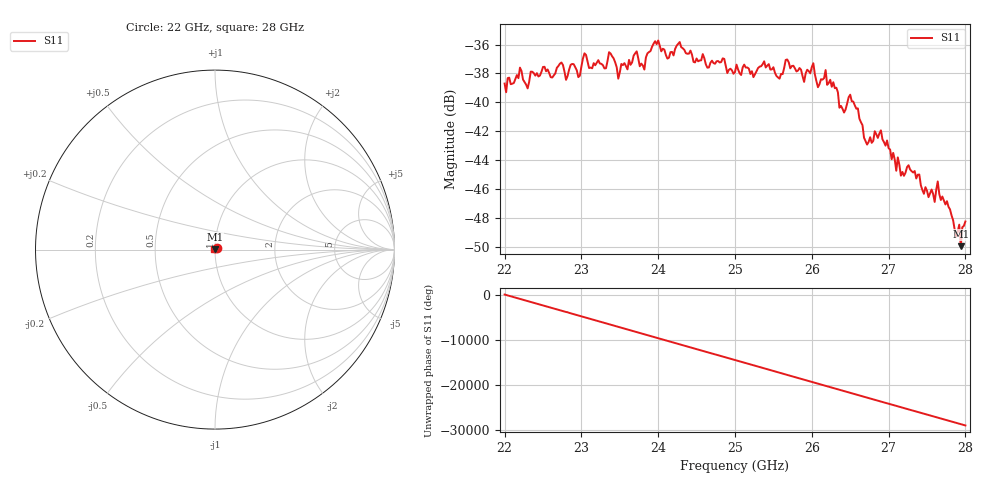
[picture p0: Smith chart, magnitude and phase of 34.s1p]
#  HZ  S  RI  R  50.00
! Rohde & Schwarz ZVA40 4Ports - Version 3.90 - 1145.1110k42 SN: 100403
! Date: 2023-10-04 07:30:28
! Measurement: S12
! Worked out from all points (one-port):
!   301 points, 22 GHz to 28 GHz, reference 50 ohm
!   lowest |S11| = -50.0 dB at 27.94 GHz (marker M1), VSWR 1.01, Z = 50 + j0.318 ohm
!   |S11| at or under -10 dB: start of sweep to end of sweep
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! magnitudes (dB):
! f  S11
! 22 GHz  -38.7
! 22.76 GHz  -37.4
! 22.96 GHz  -38.3
! 23.04 GHz  -36.6
! 23.3 GHz  -37.7
! 23.36 GHz  -36.5
! 23.5 GHz  -37.9
! 23.82 GHz  -37.7
! 23.96 GHz  -35.8
! 24.26 GHz  -36.0
! 25 GHz  -37.9
! 25.76 GHz  -37.5
! 25.9 GHz  -38.6
! 26.02 GHz  -37.3
! 26.08 GHz  -39.0
! 26.18 GHz  -37.8
! 26.42 GHz  -40.7
! 26.5 GHz  -39.5
! 26.72 GHz  -42.9
! 26.9 GHz  -41.9
! 27.1 GHz  -44.7
! 27.26 GHz  -44.4
! 27.6 GHz  -46.9
! 27.64 GHz  -45.5
! 27.88 GHz  -49.3
! 27.92 GHz  -48.5
! 27.94 GHz  -50.0
! 28 GHz  -48.2
